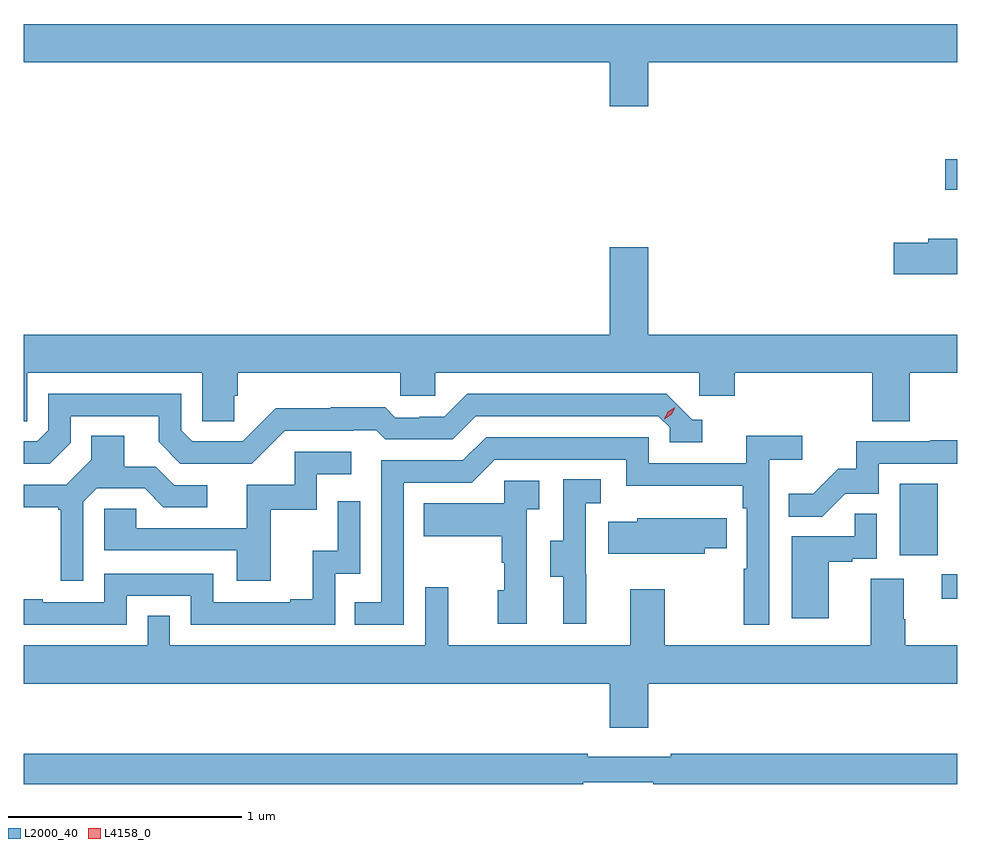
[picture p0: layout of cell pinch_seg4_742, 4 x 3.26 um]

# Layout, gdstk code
import gdstk
lib = gdstk.Library(unit=1e-6, precision=1e-09)
def R(c, l, rs):  # rectangles x0, y0, x1, y1
    for r in rs: c.add(gdstk.rectangle(r[:2], r[2:], *l))
def P(c, l, *ps):  # polygons
    for p in ps: c.add(gdstk.Polygon(p, *l))
L2000_40 = (2000, 40)
L4158_0 = (4158, 0)

pinch_seg4_742 = lib.new_cell('pinch_seg4_742')
R(pinch_seg4_742, L2000_40, [(861.735,814.5,861.8,814.605), (861.554,814.686,861.718,814.993), (861.75,816.254,861.8,816.384)])
P(pinch_seg4_742, L2000_40, [(860.476,816.8),(861.8,816.8),(861.8,816.964),(857.8,816.964),(857.8,816.8),(860.312,816.8),(860.312,816.612),(860.476,816.612)],
  [(861.8,816.044),(861.677,816.044),(861.677,816.026),(861.528,816.026),(861.528,815.891),(861.8,815.891)],
  [(857.814,815.468),(858.564,815.468),(858.564,815.26),(858.701,815.26),(858.701,815.37),(858.716,815.37),(858.716,815.468),(859.413,815.468),(859.413,815.37),(859.563,815.37),(859.563,815.468),(860.694,815.468),(860.694,815.37),(860.846,815.37),(860.846,815.468),(861.437,815.468),(861.437,815.26),(861.597,815.26),(861.597,815.468),(861.8,815.468),(861.8,815.632),(860.476,815.632),(860.476,816.007),(860.312,816.007),(860.312,815.632),(857.8,815.632),(857.8,815.26),(857.814,815.26)],
  [(858,815.169),(858,815.283),(858.377,815.283),(858.377,815.173),(858.471,815.079),(858.777,815.079),(858.918,815.22),(859.211,815.22),(859.211,815.223),(859.31,815.223),(859.349,815.184),(859.638,815.184),(859.737,815.283),(860.52,815.283),(860.568,815.235),(860.568,815.172),(860.707,815.172),(860.707,815.268),(860.664,815.268),(860.553,815.379),(859.7,815.379),(859.601,815.28),(859.494,815.28),(859.494,815.277),(859.391,815.277),(859.349,815.32),(859.116,815.32),(859.116,815.317),(858.88,815.317),(858.738,815.175),(858.522,815.175),(858.474,815.223),(858.474,815.379),(857.904,815.379),(857.904,815.223),(857.856,815.175),(857.8,815.175),(857.8,815.079),(857.91,815.079)],
  [(858.054,814.917),(858.111,814.974),(858.317,814.974),(858.398,814.893),(858.586,814.893),(858.586,814.986),(858.444,814.986),(858.364,815.066),(858.229,815.066),(858.229,815.198),(858.089,815.198),(858.089,815.096),(857.982,814.989),(857.8,814.989),(857.8,814.892),(857.946,814.892),(857.946,814.881),(857.957,814.881),(857.957,814.578),(858.054,814.578)],
  [(859.428,814.998),(859.719,814.998),(859.818,815.097),(860.382,815.097),(860.382,814.985),(860.881,814.985),(860.881,814.889),(860.898,814.889),(860.898,814.628),(860.886,814.628),(860.886,814.389),(860.994,814.389),(860.994,815.096),(861.136,815.096),(861.136,815.198),(860.897,815.198),(860.897,815.082),(860.478,815.082),(860.478,815.193),(859.781,815.193),(859.682,815.094),(859.332,815.094),(859.332,814.485),(859.219,814.485),(859.219,814.389),(859.428,814.389)],
  [(861.321,814.95),(861.465,814.95),(861.465,815.079),(861.8,815.079),(861.8,815.18),(861.685,815.18),(861.685,815.175),(861.367,815.175),(861.367,815.058),(861.29,815.058),(861.183,814.951),(861.079,814.951),(861.079,814.852),(861.223,814.852)],
  [(858.857,814.881),(859.056,814.881),(859.056,815.034),(859.204,815.034),(859.204,815.13),(858.96,815.13),(858.96,814.989),(858.755,814.989),(858.755,814.803),(858.281,814.803),(858.281,814.887),(858.144,814.887),(858.144,814.707),(858.713,814.707),(858.713,814.578),(858.857,814.578)],
  [(860.21,814.605),(860.208,814.605),(860.208,814.909),(860.272,814.909),(860.272,815.012),(860.112,815.012),(860.112,814.749),(860.057,814.749),(860.057,814.594),(860.111,814.594),(860.111,814.392),(860.21,814.392)],
  [(859.956,814.883),(860.008,814.883),(860.008,815.007),(859.86,815.007),(859.86,814.909),(859.513,814.909),(859.513,814.769),(859.848,814.769),(859.848,814.655),(859.858,814.655),(859.858,814.536),(859.832,814.536),(859.832,814.392),(859.956,814.392)],
  [(858.24,814.512),(858.516,814.512),(858.516,814.389),(859.134,814.389),(859.134,814.608),(859.242,814.608),(859.242,814.918),(859.146,814.918),(859.146,814.706),(859.037,814.706),(859.037,814.498),(858.941,814.498),(858.941,814.485),(858.612,814.485),(858.612,814.608),(858.144,814.608),(858.144,814.485),(857.881,814.485),(857.881,814.498),(857.8,814.498),(857.8,814.389),(858.24,814.389)],
  [(861.25,814.659),(861.35,814.659),(861.35,814.671),(861.456,814.671),(861.456,814.865),(861.361,814.865),(861.361,814.767),(861.092,814.767),(861.092,814.416),(861.25,814.416)],
  [(860.719,814.717),(860.813,814.717),(860.813,814.845),(860.702,814.845),(860.702,814.846),(860.43,814.846),(860.43,814.831),(860.305,814.831),(860.305,814.694),(860.719,814.694)],
  [(861.8,814.3),(861.579,814.3),(861.579,814.412),(861.571,814.412),(861.571,814.586),(861.431,814.586),(861.431,814.3),(860.547,814.3),(860.547,814.54),(860.399,814.54),(860.399,814.3),(859.619,814.3),(859.619,814.549),(859.521,814.549),(859.521,814.3),(858.426,814.3),(858.426,814.427),(858.33,814.427),(858.33,814.3),(857.8,814.3),(857.8,814.136),(860.312,814.136),(860.312,813.948),(860.476,813.948),(860.476,814.136),(861.8,814.136)],
  [(860.198,813.714),(860.498,813.714),(860.498,813.706),(861.8,813.706),(861.8,813.835),(860.572,813.835),(860.572,813.822),(860.216,813.822),(860.216,813.835),(857.8,813.835),(857.8,813.706),(860.198,813.706)])
P(pinch_seg4_742, L4158_0, [(860.544,815.269),(860.544,815.269),(860.56,815.302),(860.591,815.321),(860.591,815.321),(860.591,815.321),(860.575,815.288),(860.544,815.269)])

lib.write_gds('pinch_seg4_742.gds')
